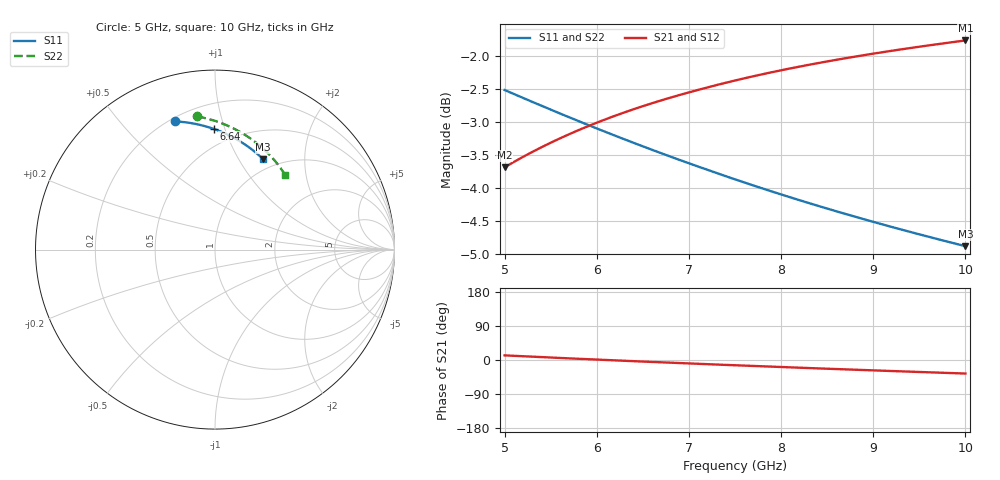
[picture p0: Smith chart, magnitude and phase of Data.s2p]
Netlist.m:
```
%************************************************
% Netlist
%   This is a tutorial on how to use Matlab 
%   to make a Sonnet netlist project. This 
%   tutorial will build and simulate a netlist 
%   circuit.
%
%   This tutorial is intended for Sonnet-Matlab 
%   interface versions 3.0 and later.
%************************************************

% Make a Sonnet Project
Project=SonnetProject();

% Convert the project into a netlist project
Project.initializeNetlist();

% Add a 50 unit resistor between port 1 and 2
Project.addResistorElement(1,2,50);

% Add a floating 50 unit capacitor at port 1
Project.addCapacitorElement(1,[],50);

% Add a transmission line element to the project connected from node 
% 1 to 2 with an impedance of 100, an electrical length of 1000 
% and a frequency of 10.
Project.addTransmissionLineElement(1,2,100,1000,10);

% Add a physical transmission line element to the first
% network of the project. The transmission line will be
% connected from node 1 to 2 with an impedance of 100,
% a length of 1000, a frequency of 10, an eeff of 1,
% and an attenuation of 10.
Project.addPhysicalTransmissionLineElement(1,2,100,1000,10,1,10);

% Add a data file to the project
Project.addDataResponseFileElement('Data.s2p',[1,2]);

% Add a project file element
Project.addProjectFileElement('projectFile.son',[1,2],0);

% Choose an ABS frequency sweep from 5 Ghz to 10 Ghz
Project.addAbsFrequencySweep(5,10);

% Write the project to the file
Project.saveAs('Netlist.son');

% Simulate the project
Project.simulate();

% Open Sonnet's response viewer
Project.viewResponseData();
```
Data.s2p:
! Sonnet Data File
! From: em Version : 13.0.0.029 alpha
! From Project: SingleStub
! Data is De-embedded
! Data File Written: 06/08/2010 10:53:44
!< HDATE 06/08/2010 10:53:39
!< MDATE 06/08/2010 10:53:39
# GHZ S MA R 50.00000
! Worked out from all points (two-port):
!   251 points, 5 GHz to 10 GHz, reference 50 ohm
!   highest |S21| = -1.77 dB at 10 GHz (marker M1); lowest = -3.7 dB at 5 GHz (marker M2)
!   |S21| within 3 dB of the highest: start of sweep to end of sweep
!   lowest |S11| = -4.9 dB at 10 GHz (marker M3), VSWR 3.65, Z = 42.8 + j63.9 ohm
!   |S11| at or under -10 dB: nowhere
!   |S22| runs from -4.9 to -2.5 dB; largest |S21 - S12| = 0
!   S11 on the Smith chart (normalised r, x): 5 GHz: 0.22, +0.71; 6.64 GHz: 0.37, +0.92; 10 GHz: 0.86, +1.28
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5  0.7485 107.4  0.6542 12.2  0.6542 12.2  0.7481 97.6
!< P1 F=5.0 Eeff=(1.0055708 -5.7639e-3) Z0=(60.2548084 -0.1724562) R=0.0 C=0.01135715
!< P2 F=5.0 Eeff=(1.0055708 -5.7639e-3) Z0=(60.2548084 -0.1724562) R=0.0 C=0.01135715
5.4  0.7283 103.1  0.6775 7.6  0.6775 7.6  0.7278 92.6
5.8  0.7092 98.9  0.6979 3.2  0.6979 3.2  0.7087 87.9
6.22  0.6904 94.7  0.7166 -1.2  0.7166 -1.2  0.69 83.2
6.64  0.6729 90.7  0.733 -5.5  0.733 -5.5  0.6726 78.6
7.06  0.6566 86.8  0.7474 -9.7  0.7474 -9.7  0.6565 74.2
7.5  0.6407 82.8  0.761 -13.9  0.761 -13.9  0.6407 69.7
8.08  0.6216 77.7  0.7767 -19.3  0.7767 -19.3  0.6218 64.1
8.68  0.6037 72.6  0.7907 -24.6  0.7907 -24.6  0.6041 58.5
9.36  0.5857 67.0  0.8045 -30.4  0.8045 -30.4  0.586 52.3
10  0.5703 61.9  0.8159 -35.8  0.8159 -35.8  0.5705 46.7
